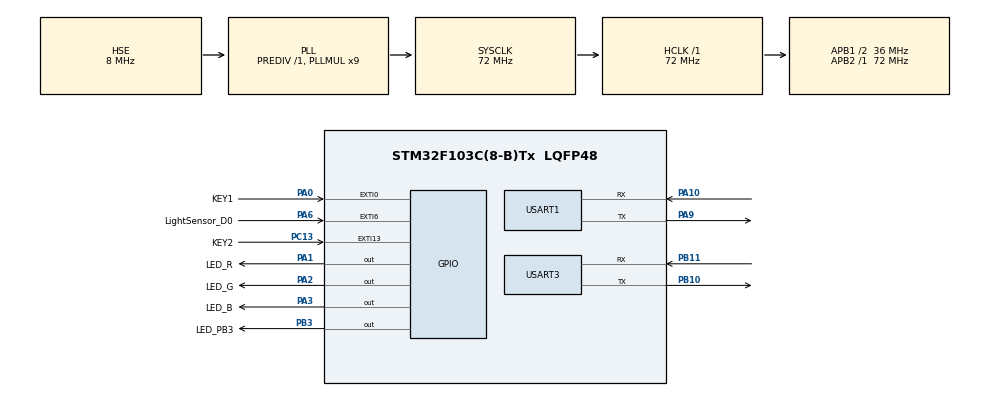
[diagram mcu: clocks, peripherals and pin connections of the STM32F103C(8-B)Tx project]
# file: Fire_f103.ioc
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Dma.Request0=USART1_RX
Dma.Request1=USART1_TX
Dma.USART1_RX.0.Direction=DMA_PERIPH_TO_MEMORY
Dma.USART1_RX.0.Instance=DMA1_Channel5
Dma.USART1_RX.0.MemDataAlignment=DMA_MDATAALIGN_BYTE
Dma.USART1_RX.0.MemInc=DMA_MINC_ENABLE
Dma.USART1_RX.0.Mode=DMA_NORMAL
Dma.USART1_RX.0.PeriphDataAlignment=DMA_PDATAALIGN_BYTE
Dma.USART1_RX.0.PeriphInc=DMA_PINC_DISABLE
Dma.USART1_RX.0.Priority=DMA_PRIORITY_LOW
Dma.USART1_TX.1.Direction=DMA_MEMORY_TO_PERIPH
Dma.USART1_TX.1.Instance=DMA1_Channel4
Dma.USART1_TX.1.MemDataAlignment=DMA_MDATAALIGN_BYTE
Dma.USART1_TX.1.MemInc=DMA_MINC_ENABLE
Dma.USART1_TX.1.Mode=DMA_NORMAL
Dma.USART1_TX.1.PeriphDataAlignment=DMA_PDATAALIGN_BYTE
Dma.USART1_TX.1.PeriphInc=DMA_PINC_DISABLE
Dma.USART1_TX.1.Priority=DMA_PRIORITY_LOW
Mcu.Family=STM32F1
Mcu.Name=STM32F103C(8-B)Tx
Mcu.Package=LQFP48
NVIC.DMA1_Channel4_IRQn=true\:0\:0\:false\:false\:true\:false\:true\:true
NVIC.DMA1_Channel5_IRQn=true\:0\:0\:false\:false\:true\:false\:true\:true
NVIC.EXTI0_IRQn=true\:2\:0\:true\:false\:true\:true\:true\:true
NVIC.EXTI15_10_IRQn=true\:2\:0\:true\:false\:true\:true\:true\:true
NVIC.EXTI9_5_IRQn=true\:2\:0\:true\:false\:true\:true\:true\:true
NVIC.PriorityGroup=NVIC_PRIORITYGROUP_2
NVIC.USART1_IRQn=true\:0\:0\:false\:false\:true\:true\:true\:true
NVIC.USART3_IRQn=true\:0\:0\:false\:false\:true\:true\:true\:true
PA0-WKUP.GPIO_Label=KEY1
PA0-WKUP.GPIO_ModeDefaultEXTI=GPIO_MODE_IT_RISING
PA0-WKUP.Signal=GPXTI0
PA1.GPIO_Label=LED_R
PA1.PinState=GPIO_PIN_SET
PA1.Signal=GPIO_Output
PA10.Mode=Asynchronous
PA10.Signal=USART1_RX
PA13.Mode=Serial_Wire
PA13.Signal=SYS_JTMS-SWDIO
PA14.Mode=Serial_Wire
PA14.Signal=SYS_JTCK-SWCLK
PA2.GPIO_Label=LED_G
PA2.Signal=GPIO_Output
PA3.GPIO_Label=LED_B
PA3.Signal=GPIO_Output
PA6.GPIO_Label=LightSensor_D0
PA6.GPIO_ModeDefaultEXTI=GPIO_MODE_IT_RISING_FALLING
PA6.Signal=GPXTI6
PA9.Mode=Asynchronous
PA9.Signal=USART1_TX
PB10.Mode=Asynchronous
PB10.Signal=USART3_TX
PB11.Mode=Asynchronous
PB11.Signal=USART3_RX
PB3.GPIO_Label=LED_PB3
PB3.PinState=GPIO_PIN_RESET
PB3.Signal=GPIO_Output
PC13-TAMPER-RTC.GPIO_Label=KEY2
PC13-TAMPER-RTC.Signal=GPXTI13
PC14-OSC32_IN.Mode=LSE-External-Oscillator
PC14-OSC32_IN.Signal=RCC_OSC32_IN
PC15-OSC32_OUT.Mode=LSE-External-Oscillator
PC15-OSC32_OUT.Signal=RCC_OSC32_OUT
PD0-OSC_IN.Mode=HSE-External-Oscillator
PD0-OSC_IN.Signal=RCC_OSC_IN
PD1-OSC_OUT.Mode=HSE-External-Oscillator
PD1-OSC_OUT.Signal=RCC_OSC_OUT
ProjectManager.HeapSize=0x200
ProjectManager.StackSize=0x400
ProjectManager.TargetToolchain=MDK-ARM V5.32
RCC.AHBFreq_Value=72000000
RCC.APB1CLKDivider=RCC_HCLK_DIV2
RCC.APB1Freq_Value=36000000
RCC.APB1TimFreq_Value=72000000
RCC.APB2Freq_Value=72000000
RCC.APB2TimFreq_Value=72000000
RCC.HCLKFreq_Value=72000000
RCC.PLLMUL=RCC_PLL_MUL9
RCC.PLLSourceVirtual=RCC_PLLSOURCE_HSE
RCC.SYSCLKFreq_VALUE=72000000
RCC.SYSCLKSource=RCC_SYSCLKSOURCE_PLLCLK
RCC.USBFreq_Value=72000000
USART1.VirtualMode=VM_ASYNC
USART3.VirtualMode=VM_ASYNC
board=custom

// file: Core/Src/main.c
/* USER CODE BEGIN Header */
/**
  ******************************************************************************
  * @file           : main.c
  * @brief          : Main program body
  ******************************************************************************
  * @attention
  *
  * Copyright (c) 2026 STMicroelectronics.
  * All rights reserved.
  *
  * This software is licensed under terms that can be found in the LICENSE file
  * in the root directory of this software component.
  * If no LICENSE file comes with this software, it is provided AS-IS.
  *
  ******************************************************************************
  */
/* USER CODE END Header */
#include "main.h"
#include "dma.h"
#include "usart.h"
#include "gpio.h"

/* USER CODE BEGIN Includes */
#include <string.h>
#include <stdio.h>
/* USER CODE END Includes */

/* USER CODE BEGIN PD */
#define LENGTH 64
/* USER CODE END PD */

/* USER CODE BEGIN PV */

uint8_t FlowingLight_run_flag = 0;
uint16_t count = 0; //time counts for flowing_light running.
uint8_t timer_en = 0; //systimer
uint8_t key_flag = 0x00;
uint8_t LightSensor_flag= 0;
uint8_t RxBuff1[LENGTH] = {0};
uint8_t RxBuff2[LENGTH] = {0};
uint8_t RxCount = 0;
uint8_t LightOn_Flag = 0;
uint8_t cmd_ready_flag = 0;
/* USER CODE END PV */

void SystemClock_Config(void);
/* USER CODE BEGIN PFP */
void USART_SendString(UART_HandleTypeDef *huart, char *str);
/* USER CODE END PFP */

int main(void)
{

  /* MCU Configuration--------------------------------------------------------*/

  /* Reset of all peripherals, Initializes the Flash interface and the Systick. */
  HAL_Init();

  /* Configure the system clock */
  SystemClock_Config();

  /* Initialize all configured peripherals */
  MX_GPIO_Init();
  MX_DMA_Init();
  MX_USART1_UART_Init();
  MX_USART3_UART_Init();
  /* USER CODE BEGIN 2 */
	uint8_t ch = 'F';
	char msg[]="Hello,world!\r\n";
	uint8_t recvBuf[2];

	printf("已开启接收中断,等待数据\n");
	HAL_UARTEx_ReceiveToIdle_IT(&huart1 ,RxBuff1, LENGTH);
	HAL_UARTEx_ReceiveToIdle_IT(&huart3 ,RxBuff2, LENGTH);
//	HAL_UART_Receive_IT(&huart1 ,RxBuff,LENGTH);
  /* USER CODE END 2 */

  /* Infinite loop */
  /* USER CODE BEGIN WHILE */
  while (1)
  {

		if(key_flag & (1 << 1) )
		{
			HAL_Delay(5);
			if(HAL_GPIO_ReadPin(KEY2_GPIO_Port, KEY2_Pin) == GPIO_PIN_SET )//eliminate shaking
			{
				FlowingLight_run_flag = 0;
				HAL_GPIO_WritePin(LED_R_GPIO_Port, LED_G_Pin | LED_R_Pin | LED_B_Pin, GPIO_PIN_SET); //all is off
				timer_en = 0;
				LightOn_Flag = 0;
			}
			key_flag &= ~(1 << 1);
		}

		if(LightOn_Flag == 1)
		{
			HAL_GPIO_WritePin(LED_R_GPIO_Port, LED_G_Pin | LED_R_Pin | LED_B_Pin, GPIO_PIN_RESET);
		}

		if(FlowingLight_run_flag == 1 && LightOn_Flag == 0)
		{
				//GPIO out,flowing water lights
			HAL_GPIO_WritePin(LED_R_GPIO_Port, LED_R_Pin, GPIO_PIN_RESET); //red light on
			HAL_GPIO_WritePin(LED_R_GPIO_Port, LED_G_Pin | LED_B_Pin, GPIO_PIN_SET); //green and blue off
			HAL_Delay(100); //delay 100ms
			HAL_GPIO_WritePin(LED_R_GPIO_Port, LED_G_Pin, GPIO_PIN_RESET);
			HAL_GPIO_WritePin(LED_R_GPIO_Port, LED_R_Pin | LED_B_Pin, GPIO_PIN_SET);
			HAL_Delay(100);
			HAL_GPIO_WritePin(LED_R_GPIO_Port, LED_B_Pin, GPIO_PIN_RESET);
			HAL_GPIO_WritePin(LED_R_GPIO_Port, LED_G_Pin | LED_R_Pin, GPIO_PIN_SET);
			HAL_Delay(100);
		}

		if(LightSensor_flag == 1){
			if(HAL_GPIO_ReadPin(LightSensor_D0_GPIO_Port, LightSensor_D0_Pin) == GPIO_PIN_RESET)
			{
				HAL_GPIO_WritePin(LED_PB3_GPIO_Port, LED_PB3_Pin, GPIO_PIN_RESET);
			}
			else if(HAL_GPIO_ReadPin(LightSensor_D0_GPIO_Port, LightSensor_D0_Pin) == GPIO_PIN_SET)
			{
				HAL_GPIO_WritePin(LED_PB3_GPIO_Port, LED_PB3_Pin, GPIO_PIN_SET);
			}
			LightSensor_flag = 0;
		}

    /* USER CODE END WHILE */

  }
}

void SystemClock_Config(void)
{
  RCC_OscInitTypeDef RCC_OscInitStruct = {0};
  RCC_ClkInitTypeDef RCC_ClkInitStruct = {0};

  /** Initializes the RCC Oscillators according to the specified parameters
  * in the RCC_OscInitTypeDef structure.
  */
  RCC_OscInitStruct.OscillatorType = RCC_OSCILLATORTYPE_HSE;
  RCC_OscInitStruct.HSEState = RCC_HSE_ON;
  RCC_OscInitStruct.HSEPredivValue = RCC_HSE_PREDIV_DIV1;
  RCC_OscInitStruct.HSIState = RCC_HSI_ON;
  RCC_OscInitStruct.PLL.PLLState = RCC_PLL_ON;
  RCC_OscInitStruct.PLL.PLLSource = RCC_PLLSOURCE_HSE;
  RCC_OscInitStruct.PLL.PLLMUL = RCC_PLL_MUL9;
  if (HAL_RCC_OscConfig(&RCC_OscInitStruct) != HAL_OK)
  {
    Error_Handler();
  }

  /** Initializes the CPU, AHB and APB buses clocks
  */
  RCC_ClkInitStruct.ClockType = RCC_CLOCKTYPE_HCLK|RCC_CLOCKTYPE_SYSCLK
                              |RCC_CLOCKTYPE_PCLK1|RCC_CLOCKTYPE_PCLK2;
  RCC_ClkInitStruct.SYSCLKSource = RCC_SYSCLKSOURCE_PLLCLK;
  RCC_ClkInitStruct.AHBCLKDivider = RCC_SYSCLK_DIV1;
  RCC_ClkInitStruct.APB1CLKDivider = RCC_HCLK_DIV2;
  RCC_ClkInitStruct.APB2CLKDivider = RCC_HCLK_DIV1;

  if (HAL_RCC_ClockConfig(&RCC_ClkInitStruct, FLASH_LATENCY_2) != HAL_OK)
  {
    Error_Handler();
  }
}

/* USER CODE BEGIN 4 */

void HAL_GPIO_EXTI_Callback(uint16_t GPIO_Pin)
{
	if(GPIO_Pin == KEY2_Pin){
			key_flag |= (1 << 1); // 0000 0010
	}
	else if(GPIO_Pin == KEY1_Pin){
			FlowingLight_run_flag = 1;
			count = 0;
			timer_en = 1;
	}
	else if(GPIO_Pin == LightSensor_D0_Pin){
		LightSensor_flag = 1;
		HAL_GPIO_TogglePin(LED_R_GPIO_Port, LED_R_Pin);
	}

}

//int fputc(int ch, FILE *f)
//{
//	HAL_UART_Transmit(&huart1, (uint8_t *)&ch, 1, HAL_MAX_DELAY);
//	return ch;
//}

void USART_SendString(UART_HandleTypeDef *huart, char *str)
{
	while(*str){ //not '\0'
		HAL_UART_Transmit(huart, (uint8_t *)str, 1, HAL_MAX_DELAY);
		str++;
	}
}
/**
  * @brief  Rx Transfer completed callbacks.
  * @param  huart  Pointer to a UART_HandleTypeDef structure that contains
  *                the configuration information for the specified UART module.
  * @retval None
  */
void HAL_UARTEx_RxEventCallback(UART_HandleTypeDef *huart, uint16_t Size)
{

	if(huart -> Instance == USART1){
		USART_SendString(&huart1,"usart1收到数据，转发usart2\r\n");
		HAL_UART_Transmit_IT(&huart3, RxBuff1, Size);
		HAL_UART_Transmit_IT(&huart1, RxBuff1, Size);
		HAL_UARTEx_ReceiveToIdle_IT(&huart1 ,RxBuff1, LENGTH);

	}
	else if(huart -> Instance == USART3){
		USART_SendString(&huart1,"usart2收到数据，转发usart1\r\n");
		HAL_UART_Transmit_IT(&huart1, RxBuff2, Size);
		HAL_UART_Transmit_IT(&huart3, RxBuff2, Size);
		HAL_UARTEx_ReceiveToIdle_IT(&huart3 ,RxBuff2, LENGTH);
	}
}
/* USER CODE END 4 */

void Error_Handler(void)
{
  __disable_irq();
  while (1)
  {
  }
}
